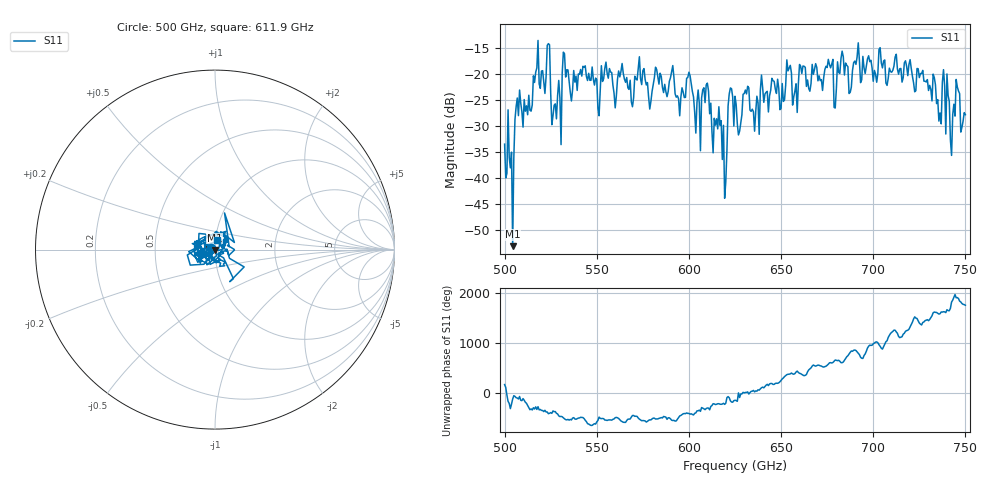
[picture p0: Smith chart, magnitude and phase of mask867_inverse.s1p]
!Created with skrf (http://scikit-rf.org).
# GHz S MA R 50.0
!freq magS11 angS11
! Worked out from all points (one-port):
!   401 points, 500 GHz to 750 GHz, reference 50 ohm
!   lowest |S11| = -53.0 dB at 504.4 GHz (marker M1), VSWR 1.00, Z = 49.9 - j0.17 ohm
!   |S11| at or under -10 dB: start of sweep to end of sweep
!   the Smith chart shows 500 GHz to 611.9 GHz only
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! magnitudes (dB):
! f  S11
! 500 GHz  -33.4
! 504.4 GHz  -53.0
! 506.9 GHz  -24.6
! 513.8 GHz  -26.9
! 516.9 GHz  -19.6
! 523.8 GHz  -14.1
! 526.9 GHz  -26.0
! 531.2 GHz  -19.8
! 562.5 GHz  -20.5
! 579.4 GHz  -25.2
! 590.6 GHz  -19.5
! 593.8 GHz  -24.2
! 600 GHz  -19.6
! 605 GHz  -23.0
! 609.4 GHz  -22.1
! 617.5 GHz  -28.9
! 619.4 GHz  -43.8
! 622.5 GHz  -22.6
! 625 GHz  -24.2
! 656.2 GHz  -25.9
! 676.9 GHz  -18.8
! 680 GHz  -22.8
! 683.8 GHz  -16.6
! 687.5 GHz  -23.5
! 691.2 GHz  -16.7
! 718.8 GHz  -20.3
! 743.1 GHz  -27.7
! 750 GHz  -27.8
